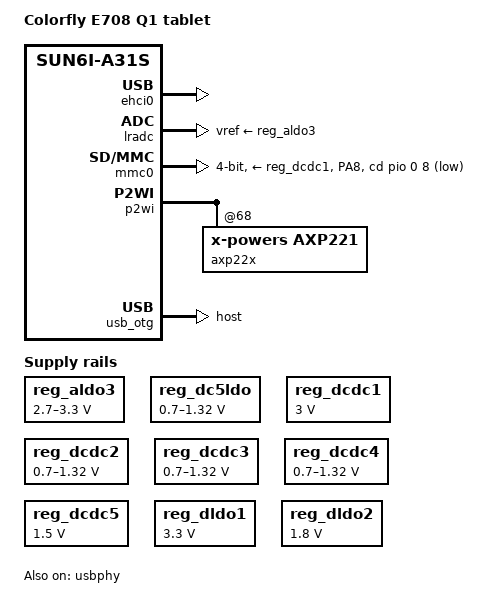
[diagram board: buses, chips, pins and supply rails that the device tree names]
/*
 * Copyright 2016 Hans de Goede <hdegoede@redhat.com>
 *
 * This file is dual-licensed: you can use it either under the terms
 * of the GPL or the X11 license, at your option. Note that this dual
 * licensing only applies to this file, and not this project as a
 * whole.
 *
 *  a) This file is free software; you can redistribute it and/or
 *     modify it under the terms of the GNU General Public License as
 *     published by the Free Software Foundation; either version 2 of the
 *     License, or (at your option) any later version.
 *
 *     This file is distributed in the hope that it will be useful,
 *     but WITHOUT ANY WARRANTY; without even the implied warranty of
 *     MERCHANTABILITY or FITNESS FOR A PARTICULAR PURPOSE.  See the
 *     GNU General Public License for more details.
 *
 * Or, alternatively,
 *
 *  b) Permission is hereby granted, free of charge, to any person
 *     obtaining a copy of this software and associated documentation
 *     files (the "Software"), to deal in the Software without
 *     restriction, including without limitation the rights to use,
 *     copy, modify, merge, publish, distribute, sublicense, and/or
 *     sell copies of the Software, and to permit persons to whom the
 *     Software is furnished to do so, subject to the following
 *     conditions:
 *
 *     The above copyright notice and this permission notice shall be
 *     included in all copies or substantial portions of the Software.
 *
 *     THE SOFTWARE IS PROVIDED "AS IS", WITHOUT WARRANTY OF ANY KIND,
 *     EXPRESS OR IMPLIED, INCLUDING BUT NOT LIMITED TO THE WARRANTIES
 *     OF MERCHANTABILITY, FITNESS FOR A PARTICULAR PURPOSE AND
 *     NONINFRINGEMENT. IN NO EVENT SHALL THE AUTHORS OR COPYRIGHT
 *     HOLDERS BE LIABLE FOR ANY CLAIM, DAMAGES OR OTHER LIABILITY,
 *     WHETHER IN AN ACTION OF CONTRACT, TORT OR OTHERWISE, ARISING
 *     FROM, OUT OF OR IN CONNECTION WITH THE SOFTWARE OR THE USE OR
 *     OTHER DEALINGS IN THE SOFTWARE.
 */

/dts-v1/;
#include "sun6i-a31s.dtsi"
#include "sunxi-common-regulators.dtsi"

#include <dt-bindings/gpio/gpio.h>
#include <dt-bindings/input/input.h>
#include <dt-bindings/pinctrl/sun4i-a10.h>

/ {
	model = "Colorfly E708 Q1 tablet";
	compatible = "colorfly,e708-q1", "allwinner,sun6i-a31s";

	aliases {
		serial0 = &uart0;
	};

	chosen {
		stdout-path = "serial0:115200n8";
	};
};

&cpu0 {
	cpu-supply = <&reg_dcdc3>;
};

&ehci0 {
	/* rtl8188etv wifi is connected here */
	status = "okay";
};

&lradc {
	vref-supply = <&reg_aldo3>;
	status = "okay";

	button@1000 {
		label = "Home";
		linux,code = <KEY_HOMEPAGE>;
		channel = <0>;
		voltage = <1000000>;
	};
};

&mmc0 {
	pinctrl-names = "default";
	pinctrl-0 = <&mmc0_pins_a>, <&mmc0_cd_pin_e708_q1>;
	vmmc-supply = <&reg_dcdc1>;
	bus-width = <4>;
	cd-gpios = <&pio 0 8 GPIO_ACTIVE_HIGH>; /* PA8 */
	cd-inverted;
	status = "okay";
};

&pio {
	mma8452_int_e708_q1: mma8452_int_pin@0 {
		allwinner,pins = "PA9";
		allwinner,function = "gpio_in";
		allwinner,drive = <SUN4I_PINCTRL_10_MA>;
		allwinner,pull = <SUN4I_PINCTRL_PULL_UP>;
	};

	mmc0_cd_pin_e708_q1: mmc0_cd_pin@0 {
		allwinner,pins = "PA8";
		allwinner,function = "gpio_in";
		allwinner,drive = <SUN4I_PINCTRL_10_MA>;
		allwinner,pull = <SUN4I_PINCTRL_PULL_UP>;
	};
};

&p2wi {
	status = "okay";

	axp22x: pmic@68 {
		compatible = "x-powers,axp221";
		reg = <0x68>;
		interrupt-parent = <&nmi_intc>;
		interrupts = <0 IRQ_TYPE_LEVEL_LOW>;
	};
};

#include "axp22x.dtsi"

&reg_aldo3 {
	regulator-always-on;
	regulator-min-microvolt = <2700000>;
	regulator-max-microvolt = <3300000>;
	regulator-name = "avcc";
};

&reg_dc1sw {
	regulator-name = "vcc-lcd";
};

&reg_dc5ldo {
	regulator-always-on;
	regulator-min-microvolt = <700000>;
	regulator-max-microvolt = <1320000>;
	regulator-name = "vdd-cpus"; /* This is an educated guess */
};

&reg_dcdc1 {
	regulator-always-on;
	regulator-min-microvolt = <3000000>;
	regulator-max-microvolt = <3000000>;
	regulator-name = "vcc-3v0";
};

&reg_dcdc2 {
	regulator-min-microvolt = <700000>;
	regulator-max-microvolt = <1320000>;
	regulator-name = "vdd-gpu";
};

&reg_dcdc3 {
	regulator-always-on;
	regulator-min-microvolt = <700000>;
	regulator-max-microvolt = <1320000>;
	regulator-name = "vdd-cpu";
};

&reg_dcdc4 {
	regulator-always-on;
	regulator-min-microvolt = <700000>;
	regulator-max-microvolt = <1320000>;
	regulator-name = "vdd-sys-dll";
};

&reg_dcdc5 {
	regulator-always-on;
	regulator-min-microvolt = <1500000>;
	regulator-max-microvolt = <1500000>;
	regulator-name = "vcc-dram";
};

&reg_dldo1 {
	regulator-min-microvolt = <3300000>;
	regulator-max-microvolt = <3300000>;
	regulator-name = "vcc-wifi";
};

&reg_dldo2 {
	regulator-min-microvolt = <1800000>;
	regulator-max-microvolt = <1800000>;
	regulator-name = "vcc-pg";
};

&simplefb_lcd {
	vcc-lcd-supply = <&reg_dc1sw>;
	vcc-pg-supply = <&reg_dldo2>;
};

/*
 * FIXME for now we only support host mode and rely on u-boot to have
 * turned on Vbus which is controlled by the axp221 pmic on the board.
 *
 * Once we have axp221 power-supply and vbus-usb support we should switch
 * to fully supporting otg.
 */
&usb_otg {
	dr_mode = "host";
	status = "okay";
};

&usbphy {
	usb1_vbus-supply = <&reg_dldo1>;
	status = "okay";
};
